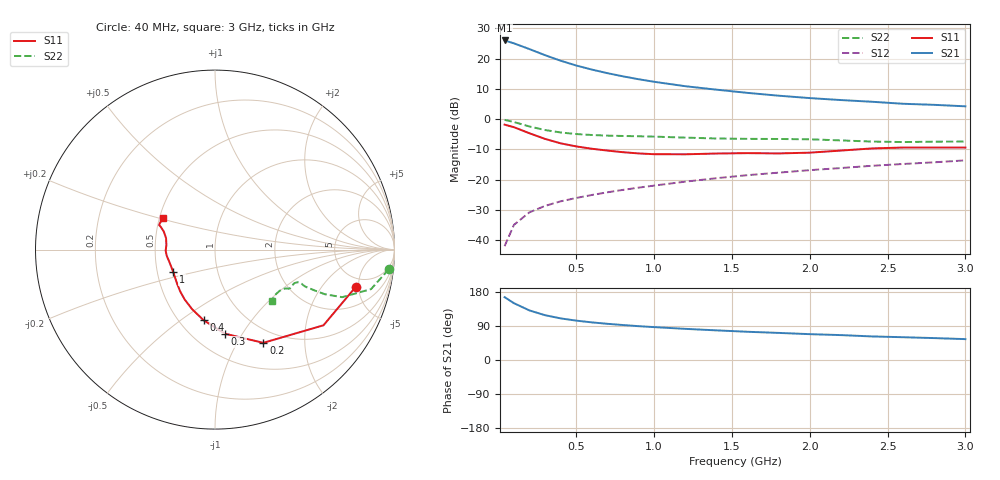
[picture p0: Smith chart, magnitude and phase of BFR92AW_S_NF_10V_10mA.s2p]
! Filename:  BFR92AWH.S2P  Version:  4.0
! Philips part #: BFR92AW  Date: Jun 1994
! Bias condition: Vce=10V, Ic=10mA
#  MHz  S  MA  R  50
! Freq  S11  S21  S12  S22  !GUM [dB]
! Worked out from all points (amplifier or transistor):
!   21 points, 40 MHz to 3 GHz, reference 50 ohm
!   highest |S21| = 26.0 dB at 40 MHz (marker M1)
!   |S21| within 3 dB of that: start of sweep to 206.9 MHz
!   unconditionally stable (mu >= 1): 759.1 MHz to end of sweep
!   at 300 MHz: K = 0.65, MSG = 24.9 dB, |S12| = -28.6 dB
!   at 1 GHz: K = 1.08, MAG = 15.4 dB, |S12| = -21.9 dB
!   at 3 GHz: K = 1.10, MAG = 7.0 dB, |S12| = -13.6 dB
!   lowest NFmin = 2.00 dB at 500 MHz
!   S11 on the Smith chart (normalised r, x): 40 MHz: 3.85, -4.66; 200 MHz: 0.82, -1.29; 300 MHz: 0.70, -0.84; 400 MHz: 0.65, -0.61; 1 GHz: 0.61, -0.16; 3 GHz: 0.52, +0.21
40  0.812 -14.7  19.94 165.8  0.008 82.0  0.974 -6.5
100  0.737 -34.9  17.86 149.9  0.018 71.8  0.897 -14.2
200  0.585 -62.6  14.35 130.7  0.029 63.5  0.757 -20.5
300  0.472 -83.2  11.39 118.2  0.037 60.4  0.662 -22.1
400  0.399 -99.1  9.23 109.8  0.044 60.7  0.603 -22.3
500  0.355 -111.2  7.695 103.9  0.05 62.0  0.568 -22.3
600  0.325 -121.4  6.595 99.3  0.056 64.1  0.548 -22.3
700  0.303 -129.8  5.752 95.5  0.062 65.4  0.535 -22.1
800  0.285 -137.6  5.099 92.3  0.068 66.7  0.528 -21.9
900  0.272 -144.8  4.568 89.3  0.074 67.7  0.522 -21.6
1000  0.264 -151.7  4.144 86.8  0.08 68.8  0.515 -21.4
1200  0.263 -164.0  3.504 82.2  0.093 70.2  0.496 -21.5
1400  0.271 -172.6  3.072 78.2  0.106 71.5  0.48 -22.9
1600  0.275 -178.8  2.719 74.5  0.119 72.0  0.473 -25.5
1800  0.272 174.8  2.442 71.5  0.131 73.1  0.471 -27.0
2000  0.28 166.8  2.23 68.2  0.144 73.6  0.465 -27.9
2200  0.303 160.5  2.069 65.7  0.156 74.1  0.446 -29.1
2400  0.329 157.1  1.939 62.2  0.17 74.3  0.427 -32.5
2600  0.34 156.3  1.796 60.1  0.182 74.3  0.419 -37.2
2800  0.34 153.9  1.725 57.8  0.194 75.1  0.425 -40.6
3000  0.34 149.1  1.63 55.1  0.209 75.2  0.427 -42.5
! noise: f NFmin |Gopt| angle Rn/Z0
500  2  0.385  17.8  0.42
1000  2.5  0.271  47.4  0.45
2000  3.4  0.165  167.6  0.3
